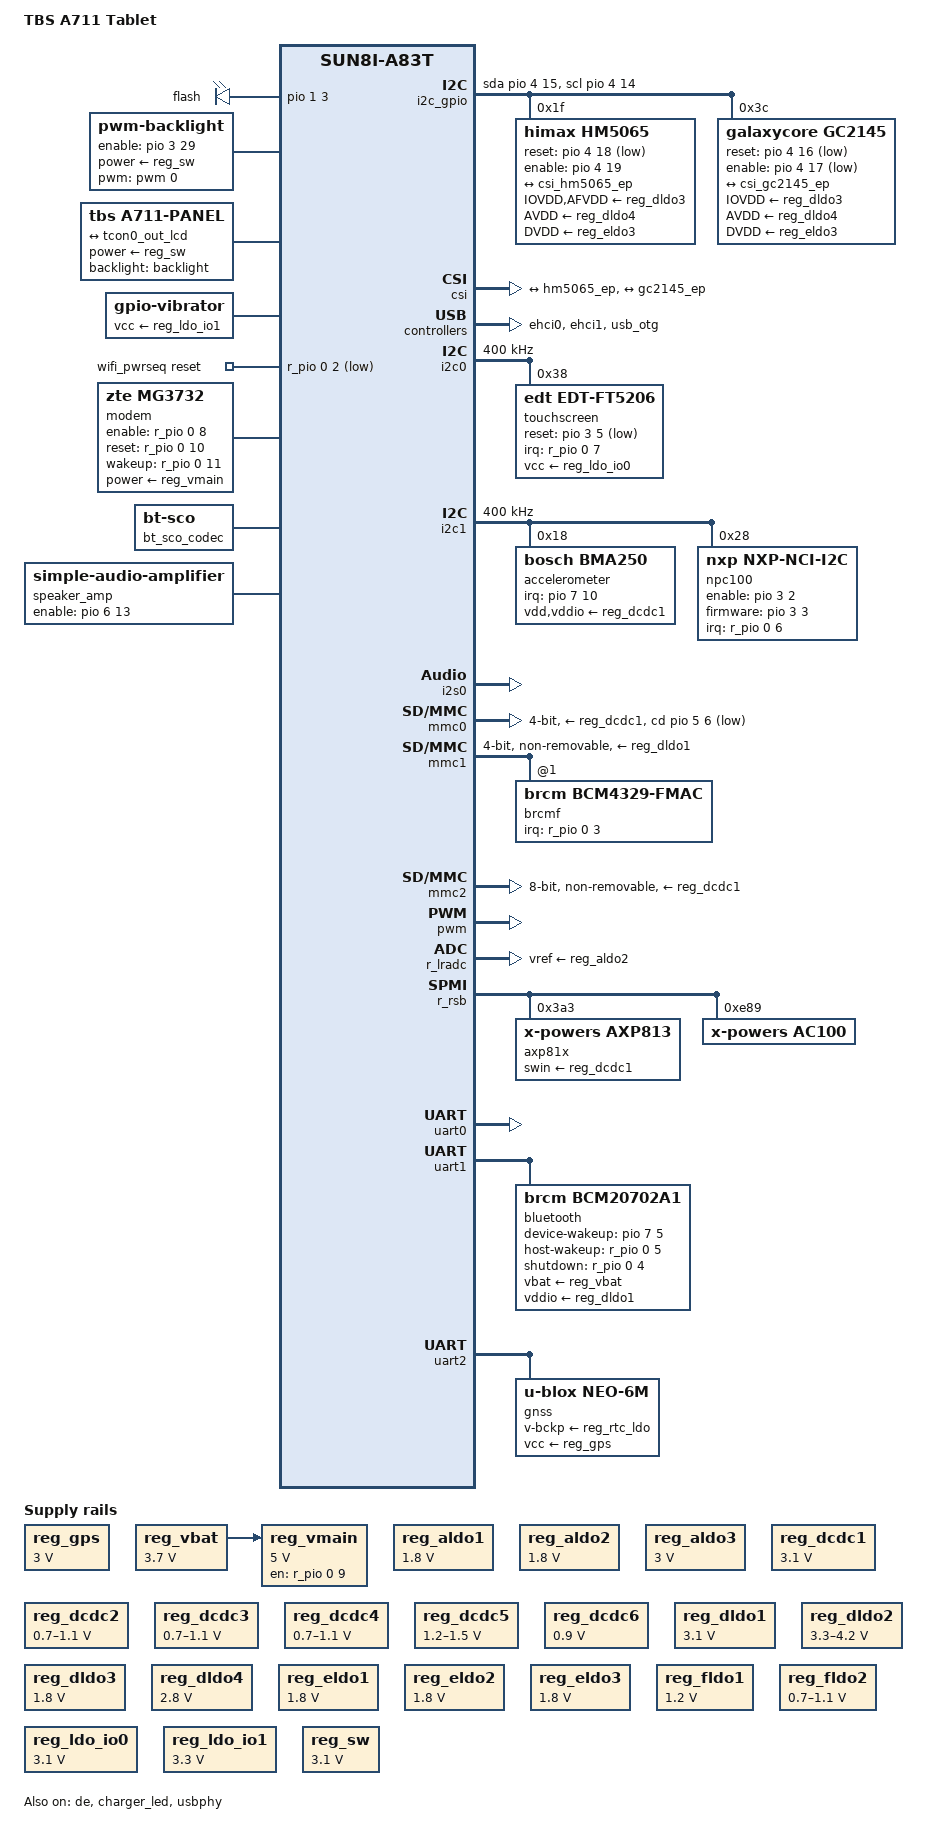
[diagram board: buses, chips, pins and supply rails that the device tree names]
/*
 * Copyright (C) 2017 Touchless Biometric Systems AG
 * Tomas Novotny <tomas@novotny.cz>
 *
 * This file is dual-licensed: you can use it either under the terms
 * of the GPL or the X11 license, at your option. Note that this dual
 * licensing only applies to this file, and not this project as a
 * whole.
 *
 *  a) This file is free software; you can redistribute it and/or
 *     modify it under the terms of the GNU General Public License as
 *     published by the Free Software Foundation; either version 2 of the
 *     License, or (at your option) any later version.
 *
 *     This file is distributed in the hope that it will be useful,
 *     but WITHOUT ANY WARRANTY; without even the implied warranty of
 *     MERCHANTABILITY or FITNESS FOR A PARTICULAR PURPOSE.  See the
 *     GNU General Public License for more details.
 *
 * Or, alternatively,
 *
 *  b) Permission is hereby granted, free of charge, to any person
 *     obtaining a copy of this software and associated documentation
 *     files (the "Software"), to deal in the Software without
 *     restriction, including without limitation the rights to use,
 *     copy, modify, merge, publish, distribute, sublicense, and/or
 *     sell copies of the Software, and to permit persons to whom the
 *     Software is furnished to do so, subject to the following
 *     conditions:
 *
 *     The above copyright notice and this permission notice shall be
 *     included in all copies or substantial portions of the Software.
 *
 *     THE SOFTWARE IS PROVIDED "AS IS", WITHOUT WARRANTY OF ANY KIND,
 *     EXPRESS OR IMPLIED, INCLUDING BUT NOT LIMITED TO THE WARRANTIES
 *     OF MERCHANTABILITY, FITNESS FOR A PARTICULAR PURPOSE AND
 *     NONINFRINGEMENT. IN NO EVENT SHALL THE AUTHORS OR COPYRIGHT
 *     HOLDERS BE LIABLE FOR ANY CLAIM, DAMAGES OR OTHER LIABILITY,
 *     WHETHER IN AN ACTION OF CONTRACT, TORT OR OTHERWISE, ARISING
 *     FROM, OUT OF OR IN CONNECTION WITH THE SOFTWARE OR THE USE OR
 *     OTHER DEALINGS IN THE SOFTWARE.
 */

/dts-v1/;
#include "sun8i-a83t.dtsi"

#include <dt-bindings/gpio/gpio.h>
#include <dt-bindings/pwm/pwm.h>
#include <dt-bindings/input/input.h>

/ {
	model = "TBS A711 Tablet";
	compatible = "tbs-biometrics,a711", "allwinner,sun8i-a83t";

	aliases {
		serial0 = &uart0;
		serial1 = &uart1;
	};

	chosen {
		stdout-path = "serial0:115200n8";
	};

	leds {
		compatible = "gpio-leds";

		flash_led {
			label = "flash";
			gpios = <&pio 1 3 GPIO_ACTIVE_HIGH>;
		};
	};

	backlight: backlight {
		compatible = "pwm-backlight";
		pwms = <&pwm 0 50000 PWM_POLARITY_INVERTED>;
		enable-gpios = <&pio 3 29 GPIO_ACTIVE_HIGH>;
		power-supply = <&reg_sw>;
		brightness-levels = <0 1 2 4 8 16 32 64 128 255>;
		default-brightness-level = <9>;
	};

	i2c_gpio: i2c-gpio {
		compatible = "i2c-gpio";
		/* PE15 = sda, PE14 = scl */
		sda-gpios = <&pio 4 15 (GPIO_ACTIVE_HIGH | GPIO_OPEN_DRAIN)>;
		scl-gpios = <&pio 4 14 (GPIO_ACTIVE_HIGH | GPIO_OPEN_DRAIN)>;
		i2c-gpio,delay-us = <1>; /* ~100 kHz */
		#address-cells = <1>;
		#size-cells = <0>;
	};

	panel {
		compatible = "tbs,a711-panel", "panel-lvds";
		backlight = <&backlight>;
		power-supply = <&reg_sw>;

		width-mm = <153>;
		height-mm = <90>;
		data-mapping = "vesa-24";

		panel-timing {
			/* 1024x600 @60Hz */
			clock-frequency = <52000000>;
			hactive = <1024>;
			vactive = <600>;
			hsync-len = <20>;
			hfront-porch = <180>;
			hback-porch = <160>;
			vfront-porch = <12>;
			vback-porch = <23>;
			vsync-len = <5>;
		};

		port {
			panel_input: endpoint {
				remote-endpoint = <&tcon0_out_lcd>;
			};
		};
	};

	vibrator {
		compatible = "gpio-vibrator";
		vcc-supply = <&reg_ldo_io1>;
	};

	reg_gps: reg-gps {
		compatible = "regulator-fixed";
		regulator-name = "gps";
		regulator-min-microvolt = <3000000>;
		regulator-max-microvolt = <3000000>;
	};

	reg_vbat: reg-vbat {
		compatible = "regulator-fixed";
		regulator-name = "vbat";
		regulator-min-microvolt = <3700000>;
		regulator-max-microvolt = <3700000>;
	};

	reg_vmain: reg-vmain {
		compatible = "regulator-fixed";
		regulator-name = "vmain";
		regulator-min-microvolt = <5000000>;
		regulator-max-microvolt = <5000000>;
		gpio = <&r_pio 0 9 GPIO_ACTIVE_HIGH>; /* PL9 */
		enable-active-high;
		vin-supply = <&reg_vbat>;
	};

	wifi_pwrseq: wifi_pwrseq {
		compatible = "mmc-pwrseq-simple";
		reset-gpios = <&r_pio 0 2 GPIO_ACTIVE_LOW>; /* PL2 WL-PMU-EN */

		/*
		 * This is actually Bluetooth's clock, but we have to
		 * hook it up somewheere
		 */
		clocks = <&ac100_rtc 1>;
		clock-names = "ext_clock";
	};

	modem {
		compatible = "zte,mg3732";
		char-device-name = "modem-power";

		power-supply = <&reg_vmain>;

		enable-gpios = <&r_pio 0 8 GPIO_ACTIVE_HIGH>; /* PL8 */
		reset-gpios = <&r_pio 0 10 GPIO_ACTIVE_HIGH>; /* PL10 */
		wakeup-gpios = <&r_pio 0 11 GPIO_ACTIVE_HIGH>; /* PL11 */
	};

	bt_sco_codec: bt-sco-codec {
		#sound-dai-cells = <1>;
		compatible = "linux,bt-sco";
		sound-name-prefix = "Bluetooth";
	};

	speaker_amp: audio-amplifier {
		compatible = "simple-audio-amplifier";
		enable-gpios = <&pio 6 13 GPIO_ACTIVE_HIGH>; /* PG13 */
		sound-name-prefix = "Speaker Amp";
	};

	sound: sound {
		#address-cells = <1>;
		#size-cells = <0>;
		compatible = "simple-audio-card";
		simple-audio-card,name = "ac100-audio";
		simple-audio-card,aux-devs = <&ac100_codec_analog>, <&speaker_amp>;
		simple-audio-card,widgets = "Microphone", "Headset Microphone",
					    "Microphone", "Internal Microphone",
					    "Headphone", "Headphone Jack",
					    "Speaker", "Internal Speaker";
		simple-audio-card,routing =
				"Headphone Jack", "HP",
				"Internal Speaker", "Speaker Amp OUTL",
				"Speaker Amp INL", "SPKOUTL",
				"Left DAC", "DACL",
				"Right DAC", "DACR",
				"ADCL", "Left ADC",
				"ADCR", "Right ADC",
				"Internal Microphone", "MBIAS",
				"MIC1", "Internal Microphone",
				"Headset Microphone", "HBIAS",
				"MIC2", "Headset Microphone";

		simple-audio-card,dai-link@0 {
			format = "i2s";
			frame-master = <&link0_cpu>;
			bitclock-master = <&link0_cpu>;
			mclk-fs = <512>;

			link0_cpu: cpu {
				sound-dai = <&i2s0>;
			};

			link0_codec: codec {
				sound-dai = <&ac100_codec 0>;
			};
		};

		simple-audio-card,dai-link@2 {
			format = "dsp_a";
			frame-master = <&link2_codec>;
			bitclock-master = <&link2_codec>;
			bitclock-inversion;

			link2_cpu: cpu {
				sound-dai = <&bt_sco_codec 0>;
			};

			link2_codec: codec {
				sound-dai = <&ac100_codec 2>;
				dai-tdm-slot-num = <2>;
				dai-tdm-slot-width = <16>;
			};
		};
	};
};

&ccu {
	/* Use a stable clock source with known fixed rate for MCLK */
	assigned-clocks = <&ccu CLK_CSI_MCLK>;
	assigned-clock-parents = <&osc24M>;
	assigned-clock-rates = <24000000>;
};

&cpu0 {
	cpu-supply = <&reg_dcdc2>;
};

&cpu100 {
	cpu-supply = <&reg_dcdc3>;
};

&csi {
	pinctrl-names = "default";
	pinctrl-0 = <&csi_8bit_parallel_pins>, <&csi_mclk_pin>;
	status = "okay";

	port {
		#address-cells = <1>;
		#size-cells = <0>;

		csi_hm5065_ep: endpoint@0 {
			reg = <0>;
			remote-endpoint = <&hm5065_ep>;
			bus-width = <8>;
			data-active = <1>;
			pclk-sample = <0>;
			hsync-active = <0>;
			vsync-active = <1>;
		};

		csi_gc2145_ep: endpoint@1 {
			reg = <1>;
			remote-endpoint = <&gc2145_ep>;
			bus-width = <8>;
			hsync-active = <1>;
			vsync-active = <1>;
			data-active = <1>;
			pclk-sample = <1>;
		};
	};
};

&de {
	status = "okay";
};

/*
 * An USB-2 hub is connected here, which also means we don't need to
 * enable the OHCI controller.
 */
&ehci0 {
	status = "okay";
};

/*
 * There's a modem connected here that needs to be initialised before
 * being able to be enumerated.
 */
&ehci1 {
	status = "okay";
};

&i2c0 {
	clock-frequency = <400000>;
	status = "okay";

	touchscreen@38 {
		compatible = "edt,edt-ft5206";
		reg = <0x38>;
		interrupt-parent = <&r_pio>;
		interrupts = <0 7 IRQ_TYPE_EDGE_FALLING>; /* PL7 */
		reset-gpios = <&pio 3 5 GPIO_ACTIVE_LOW>; /* PD5 */
		vcc-supply = <&reg_ldo_io0>;
		touchscreen-size-x = <1024>;
		touchscreen-size-y = <600>;
	};
};

&i2c1 {
	clock-frequency = <400000>;
	status = "okay";

	accelerometer@18 {
		compatible = "bosch,bma250";
		reg = <0x18>;
		interrupt-parent = <&pio>;
		interrupts = <7 10 IRQ_TYPE_EDGE_RISING>; /* PH10 / EINT10 */
		vdd-supply = <&reg_dcdc1>;
		vddio-supply = <&reg_dcdc1>;
	};

	/* NFC (NPC 100) */
	npc100: nfc@28 {
		compatible = "nxp,nxp-nci-i2c";
		reg = <0x28>;
		interrupt-parent = <&r_pio>;
		interrupts = <0 6 IRQ_TYPE_LEVEL_HIGH>; /* PL6 */
		enable-gpios = <&pio 3 2 GPIO_ACTIVE_HIGH>; /* PD2 */
		firmware-gpios = <&pio 3 3 GPIO_ACTIVE_HIGH>; /* PD3 */
	};
};

&i2c_gpio {
	hm5065: rear-camera@1f {
		compatible = "himax,hm5065";
		reg = <0x1f>;
		clocks = <&ccu CLK_CSI_MCLK>;
		clock-names = "xclk";
		IOVDD-supply = <&reg_dldo3>;
		AVDD-supply = <&reg_dldo4>;
		DVDD-supply = <&reg_eldo3>;
		AFVDD-supply = <&reg_dldo3>;
		reset-gpios = <&pio 4 18 GPIO_ACTIVE_LOW>; /* PE18 */
		enable-gpios = <&pio 4 19 GPIO_ACTIVE_HIGH>; /* PE19 */

		port {
			hm5065_ep: endpoint {
				remote-endpoint = <&csi_hm5065_ep>;
				bus-width = <8>;
				data-active = <1>;
				pclk-sample = <0>;
				hsync-active = <0>;
				vsync-active = <1>;
			};
		};
	};

	gc2145: front-camera@3c {
		compatible = "galaxycore,gc2145";
		reg = <0x3c>;
		clocks = <&ccu CLK_CSI_MCLK>;
		clock-names = "xclk";
		IOVDD-supply = <&reg_dldo3>;
		AVDD-supply = <&reg_dldo4>;
		DVDD-supply = <&reg_eldo3>;
		reset-gpios = <&pio 4 16 (GPIO_ACTIVE_LOW | GPIO_OPEN_DRAIN)>; /* PE16 */
		enable-gpios = <&pio 4 17 (GPIO_ACTIVE_LOW | GPIO_OPEN_DRAIN)>; /* PE17 */

		port {
			gc2145_ep: endpoint {
				remote-endpoint = <&csi_gc2145_ep>;
				bus-width = <8>;
				hsync-active = <1>;
				vsync-active = <1>;
				data-active = <1>;
				pclk-sample = <1>;
			};
		};
	};
};

&i2s0 {
	status = "okay";
	pinctrl-names = "default";
	pinctrl-0 = <&i2s0_pins>;
};

&mmc0 {
	vmmc-supply = <&reg_dcdc1>;
	pinctrl-names = "default";
	pinctrl-0 = <&mmc0_pins>;
	bus-width = <4>;
	cd-gpios = <&pio 5 6 GPIO_ACTIVE_LOW>;
	status = "okay";
};

&mmc1 {
	mmc-pwrseq = <&wifi_pwrseq>;
	bus-width = <4>;
	vmmc-supply = <&reg_dldo1>;
	vqmmc-supply = <&reg_dldo1>;
	non-removable;
	wakeup-source;
	keep-power-in-suspend;
	status = "okay";

	brcmf: wifi@1 {
		reg = <1>;
		compatible = "brcm,bcm4329-fmac";
		interrupt-parent = <&r_pio>;
		interrupts = <0 3 IRQ_TYPE_LEVEL_LOW>; /* PL3 WL_WAKE_UP */
		interrupt-names = "host-wake";
	};
};

&mmc2 {
	pinctrl-0 = <&mmc2_8bit_emmc_pins>;
	pinctrl-names = "default";
	vmmc-supply = <&reg_dcdc1>;
	vqmmc-supply = <&reg_dcdc1>;
	bus-width = <8>;
	non-removable;
	cap-mmc-hw-reset;
	status = "okay";
};

&pwm {
	pinctrl-names = "default";
	pinctrl-0 = <&pwm_pin>;
	status = "okay";
};

&r_lradc {
	vref-supply = <&reg_aldo2>;
	status = "okay";

	button-210 {
		label = "Volume Up";
		linux,code = <KEY_VOLUMEUP>;
		channel = <0>;
		voltage = <210000>;
	};

	button-410 {
		label = "Volume Down";
		linux,code = <KEY_VOLUMEDOWN>;
		channel = <0>;
		voltage = <410000>;
	};
};

&r_rsb {
	status = "okay";

	axp81x: pmic@3a3 {
		compatible = "x-powers,axp813";
		reg = <0x3a3>;
		interrupt-parent = <&r_intc>;
		interrupts = <GIC_SPI 32 IRQ_TYPE_LEVEL_LOW>;
		swin-supply = <&reg_dcdc1>;
		x-powers,drive-vbus-en;
	};

	ac100: codec@e89 {
		compatible = "x-powers,ac100";
		reg = <0xe89>;

		ac100_codec_analog: codec-analog {
			compatible = "x-powers,ac100-codec-analog";
			cpvdd-supply = <&reg_aldo2>;
		};

		ac100_codec: codec {
			#sound-dai-cells = <1>;
			compatible = "x-powers,ac100-codec";
			interrupt-parent = <&r_pio>;
			interrupts = <0 12 IRQ_TYPE_LEVEL_LOW>; /* PL12 */
			#clock-cells = <0>;
			clock-output-names = "4M_adda";

			LDOIN-supply = <&reg_aldo2>;
			AVCC-supply = <&reg_aldo3>;
			VDDIO1-supply = <&reg_dcdc1>;
			VDDIO2-supply = <&reg_dldo1>;
		};

		ac100_rtc: rtc {
			compatible = "x-powers,ac100-rtc";
			interrupt-parent = <&r_intc>;
			interrupts = <GIC_SPI 32 IRQ_TYPE_LEVEL_LOW>;
			clocks = <&ac100_codec>;
			#clock-cells = <1>;
			clock-output-names = "cko1_rtc",
					     "cko2_rtc",
					     "cko3_rtc";
		};
	};

};

#include "axp81x.dtsi"

&battery_power_supply {
	status = "okay";
};

&charger_led {
	status = "okay";
};

&reg_aldo1 {
	regulator-min-microvolt = <1800000>;
	regulator-max-microvolt = <1800000>;
	regulator-name = "vcc-1.8";
};

&reg_aldo2 {
	regulator-min-microvolt = <1800000>;
	regulator-max-microvolt = <1800000>;
	regulator-always-on;
	regulator-name = "vdd-drampll";
};

&reg_aldo3 {
	regulator-min-microvolt = <3000000>;
	regulator-max-microvolt = <3000000>;
	regulator-always-on;
	regulator-name = "avcc";
};

&reg_dcdc1 {
	regulator-min-microvolt = <3100000>;
	regulator-max-microvolt = <3100000>;
	regulator-always-on;
	regulator-name = "vcc-io";
};

&reg_dcdc2 {
	regulator-min-microvolt = <700000>;
	regulator-max-microvolt = <1100000>;
	regulator-always-on;
	regulator-name = "vdd-cpu-A";
};

&reg_dcdc3 {
	regulator-min-microvolt = <700000>;
	regulator-max-microvolt = <1100000>;
	regulator-always-on;
	regulator-name = "vdd-cpu-B";
};

&reg_dcdc4 {
	regulator-min-microvolt = <700000>;
	regulator-max-microvolt = <1100000>;
	regulator-name = "vdd-gpu";
};

&reg_dcdc5 {
	regulator-min-microvolt = <1200000>;
	regulator-max-microvolt = <1500000>;
	regulator-always-on;
	regulator-name = "vcc-dram";
};

&reg_dcdc6 {
	regulator-min-microvolt = <900000>;
	regulator-max-microvolt = <900000>;
	regulator-always-on;
	regulator-name = "vdd-sys";
};

&reg_dldo1 {
	regulator-min-microvolt = <3100000>;
	regulator-max-microvolt = <3100000>;
	regulator-name = "vcc-wifi-io";
};

&reg_dldo2 {
	regulator-min-microvolt = <3300000>;
	regulator-max-microvolt = <4200000>;
	regulator-name = "vbat-nfc";
	regulator-always-on;
};

&reg_dldo3 {
	regulator-min-microvolt = <1800000>;
	regulator-max-microvolt = <1800000>;
	regulator-name = "vdd-csi";
};

&reg_dldo4 {
	regulator-min-microvolt = <2800000>;
	regulator-max-microvolt = <2800000>;
	regulator-name = "avdd-csi";
};

&reg_drivevbus {
	regulator-name = "usb0-vbus";
	status = "okay";
};

&reg_eldo1 {
	regulator-min-microvolt = <1800000>;
	regulator-max-microvolt = <1800000>;
	regulator-name = "pvdd-nfc";
	regulator-always-on;
};

&reg_eldo2 {
	regulator-min-microvolt = <1800000>;
	regulator-max-microvolt = <1800000>;
	regulator-name = "vcc-dsi";
};

&reg_eldo3 {
	regulator-min-microvolt = <1800000>;
	regulator-max-microvolt = <1800000>;
	regulator-name = "dvdd-csi-f";
};

&reg_fldo1 {
	regulator-min-microvolt = <1200000>;
	regulator-max-microvolt = <1200000>;
	regulator-name = "vcc-hsic";
};

&reg_fldo2 {
	regulator-min-microvolt = <700000>;
	regulator-max-microvolt = <1100000>;
	regulator-always-on;
	regulator-name = "vdd-cpus";
};

&reg_ldo_io0 {
	regulator-min-microvolt = <3100000>;
	regulator-max-microvolt = <3100000>;
	regulator-name = "vcc-ctp";
	status = "okay";
};

&reg_ldo_io1 {
	regulator-min-microvolt = <3300000>;
	regulator-max-microvolt = <3300000>;
	regulator-name = "vcc-vb";
	status = "okay";
};

&reg_sw {
	regulator-min-microvolt = <3100000>;
	regulator-max-microvolt = <3100000>;
	regulator-name = "vcc-lcd";
};

&tcon0 {
	pinctrl-names = "default";
	pinctrl-0 = <&lcd_lvds_pins>;
};

&tcon0_out {
	tcon0_out_lcd: endpoint {
		remote-endpoint = <&panel_input>;
	};
};

&uart0 {
	pinctrl-names = "default";
	pinctrl-0 = <&uart0_pb_pins>;
	status = "okay";
};

/* There's the BT part of the AP6210 connected to that UART */
&uart1 {
	pinctrl-names = "default";
	pinctrl-0 = <&uart1_pins>, <&uart1_rts_cts_pins>;
	uart-has-rtscts;
	status = "okay";

	bluetooth {
		compatible = "brcm,bcm20702a1";
		clocks = <&ac100_rtc 1>;
		clock-names = "lpo";
		vbat-supply = <&reg_vbat>;
		vddio-supply = <&reg_dldo1>;
		device-wakeup-gpios = <&pio 7 5 GPIO_ACTIVE_HIGH>; /* PH5 */
		host-wakeup-gpios = <&r_pio 0 5 GPIO_ACTIVE_HIGH>; /* PL5 */
		shutdown-gpios = <&r_pio 0 4 GPIO_ACTIVE_HIGH>; /* PL4 */
		max-speed = <1500000>;
	};
};

&uart2 {
	pinctrl-names = "default";
	pinctrl-0 = <&uart2_pb_pins>;
	status = "okay";

	gnss {
		compatible = "u-blox,neo-6m";

		v-bckp-supply = <&reg_rtc_ldo>;
		vcc-supply = <&reg_gps>;
		current-speed = <9600>;
	};
};

&usb_otg {
	status = "okay";
};

&usbphy {
	usb0_id_det-gpios = <&pio 7 11 (GPIO_ACTIVE_HIGH | GPIO_PULL_UP)>; /* PH11 */
	usb0_vbus_power-supply = <&usb_power_supply>;
	usb0_vbus-supply = <&reg_drivevbus>;
	usb1_vbus-supply = <&reg_vmain>;
	usb2_vbus-supply = <&reg_vmain>;
	status = "okay";
};
